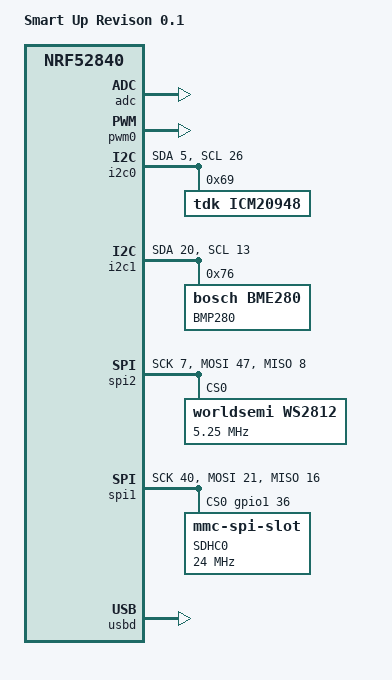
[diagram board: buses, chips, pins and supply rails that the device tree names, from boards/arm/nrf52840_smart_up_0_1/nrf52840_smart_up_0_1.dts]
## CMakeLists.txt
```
cmake_minimum_required(VERSION 3.13.1)

SET(BOARD_ROOT ${CMAKE_SOURCE_DIR})

include($ENV{ZEPHYR_BASE}/cmake/app/boilerplate.cmake NO_POLICY_SCOPE)
project(smart-up)

target_sources(app PRIVATE 
src/main.c 
src/store.c 
src/bt.c
src/gatt/battery_gatt.c
src/gatt/data_logger_gatt.c
src/data_logger.c
src/device_targets.c
src/neo_pixel.c)

target_include_directories(app PRIVATE src)
```

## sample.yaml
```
sample:
  name: Bed Sensor
tests:
  sample.blinky:
    tags: LED gpio
    filter: DT_GPIO_LEDS_LED0_GPIO_CONTROLLER
    depends_on: gpio
    harness: led
```

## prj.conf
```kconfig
# Enable RTT
CONFIG_HAS_SEGGER_RTT=y
CONFIG_LOG_BACKEND_RTT=y
CONFIG_USE_SEGGER_RTT=y

# RTT logging
CONFIG_LOG=y
CONFIG_LOG_RUNTIME_FILTERING=y
CONFIG_LOG_BUFFER_SIZE=4096
CONFIG_LOG_PRINTK=y
CONFIG_NEWLIB_LIBC=y

CONFIG_DISK_ACCESS=y
CONFIG_DISK_ACCESS_SDHC=y
CONFIG_DISK_ACCESS_SPI_SDHC=y
CONFIG_DISK_SDHC_VOLUME_NAME="SD"
CONFIG_FILE_SYSTEM=y
CONFIG_FAT_FILESYSTEM_ELM=y

CONFIG_PWM=y

CONFIG_BT=y
CONFIG_BT_DEBUG_LOG=y
CONFIG_BT_SMP=y
CONFIG_BT_PERIPHERAL=y
CONFIG_BT_GATT_DIS=y
CONFIG_BT_GATT_DIS_PNP=n
CONFIG_BT_DEVICE_NAME="Smart Up"
CONFIG_BT_DEVICE_APPEARANCE=833
#CONFIG_BT_L2CAP_RX_MTU=100
#CONFIG_BT_L2CAP_TX_MTU=100
CONFIG_BT_RX_STACK_SIZE=6096
```

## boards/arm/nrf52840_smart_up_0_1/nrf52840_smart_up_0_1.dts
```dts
/*
 * Copyright (c) 2017 Linaro Limited
 *
 * SPDX-License-Identifier: Apache-2.0
 */

/dts-v1/;
#include <nordic/nrf52840_qiaa.dtsi>

/ {
	model = "Smart Up Revison 0.1";
	compatible = "nordic,smart_up_0_1", "nordic,nrf52840-qiaa",
		     "nordic,nrf52840";

	chosen {
		zephyr,sram = &sram0;
		zephyr,flash = &flash0;
		zephyr,code-partition = &slot0_partition;
	};

	/* These aliases are provided for compatibility with samples */
	aliases {
		buzzer = &pwm0;
		neo-pixel = &spi1;
	};
};

&adc {
	status ="ok";
};

&gpiote {
	status ="ok";
};

&gpio0 {
	status ="ok";
};

&gpio1 {
	status ="ok";
};


&pwm0 {
	status = "ok";
	ch0-pin = <15>;
	ch0-inverted;
};


&i2c0 {
	status = "ok";
	sda-pin = <5>;
	scl-pin = <26>;
	icm20948@69{
        compatible = "tdk,icm20948";
        reg = <0x69>;
        label = "icm20948";
    };
};

&i2c1 {
//	status = "ok";
	sda-pin = <20>;
	scl-pin = <13>;
	bmp280@76 {
        compatible = "bosch,bme280";
        reg = <0x76>;
        label = "BMP280";
    };
};


&spi2 {
	status = "ok";
	sck-pin = <7>;
	mosi-pin = <47>;
	miso-pin = <8>;
	ws2812@0 {
		compatible = "worldsemi,ws2812";
		reg = <0>;
		spi-max-frequency = <5250000>;
		label = "WS2812";
	};
};

&spi1 {
    status = "ok";
    sck-pin = <40>;
    mosi-pin = <21>;
    miso-pin = <16>;
    cs-gpios = <&gpio1 36 0>;

    sdhc0: sdhc@0 {
        compatible = "zephyr,mmc-spi-slot";
        reg = <0>;
        status = "ok";
        label = "SDHC0";
        spi-max-frequency = <24000000>;
    };
};

&flash0 {
	/*
	 * For more information, see:
	 * http://docs.zephyrproject.org/latest/guides/dts/index.html#flash-partitions
	 */
	partitions {
		compatible = "fixed-partitions";
		#address-cells = <1>;
		#size-cells = <1>;

		boot_partition: partition@0 {
			label = "mcuboot";
			reg = <0x000000000 0x0000C000>;
		};
		slot0_partition: partition@c000 {
			label = "image-0";
			reg = <0x0000C000 0x000067000>;
		};
		slot1_partition: partition@73000 {
			label = "image-1";
			reg = <0x00073000 0x000067000>;
		};
		scratch_partition: partition@da000 {
			label = "image-scratch";
			reg = <0x000da000 0x0001e000>;
		};

		/*
		 * The flash starting at 0x000f8000 and ending at
		 * 0x000fffff is reserved for use by the application.
		 */

		/* Storage partition will be used by FCB/NFFS/NVS if enabled. */
		storage_partition: partition@f8000 {
			label = "storage";
			reg = <0x000f8000 0x00008000>;
		};
	};
};

&usbd {
	compatible = "nordic,nrf-usbd";
	status = "ok";
};
```

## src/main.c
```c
#include <errno.h>
#include <string.h>

#include <zephyr.h>
#include <device.h>
#include <sensor.h>
#include <stdio.h>
#include <misc/util.h>

// #include "neo_pixel.h"
#include "store.h"
#include "device_targets.h"
#include "bt.h"
#include "store.h"
#include "data_logger.h"
#include <logging/log.h>
#include "data_logger.h"
LOG_MODULE_REGISTER(MAIN_INIT);

void main(void)
{

	LOG_INF("start init \n");
	init_neo_pixel();
	set_pixel_color(0,40,0);
	file_store_init();
	init_pwm();
	// init_bme280();
	init_icm20948();
	bluetooth_init();
	set_pixel_color(0,0,0);
	LOG_INF("end init");

	// while (1) {
	// 	k_sleep(MSEC_PER_SEC);
	// }
}
```

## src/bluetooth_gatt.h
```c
#include <stdbool.h>
#include <zephyr/types.h>
#include <stddef.h>
#include <string.h>
#include <errno.h>
#include <misc/printk.h>
#include <misc/byteorder.h>
#include <zephyr.h>

#include <bluetooth/bluetooth.h>
#include <bluetooth/hci.h>
#include <bluetooth/conn.h>
#include <bluetooth/uuid.h>
#include <bluetooth/gatt.h>


static struct bt_gatt_attr ess_attrs[] = {
	BT_GATT_PRIMARY_SERVICE(BT_UUID_ESS),

	/* Temperature Sensor 1 */
	BT_GATT_CHARACTERISTIC(BT_UUID_TEMPERATURE,
			       BT_GATT_CHRC_READ | BT_GATT_CHRC_NOTIFY,
			       BT_GATT_PERM_READ,
			       read_u16, NULL, &sensor_1.temp_value),
	BT_GATT_DESCRIPTOR(BT_UUID_ES_MEASUREMENT, BT_GATT_PERM_READ,
			   read_es_measurement, NULL, &sensor_1.meas),
	BT_GATT_CUD(SENSOR_1_NAME, BT_GATT_PERM_READ),
	BT_GATT_DESCRIPTOR(BT_UUID_VALID_RANGE, BT_GATT_PERM_READ,
			   read_temp_valid_range, NULL, &sensor_1),
	BT_GATT_DESCRIPTOR(BT_UUID_ES_TRIGGER_SETTING,
			   BT_GATT_PERM_READ, read_temp_trigger_setting,
			   NULL, &sensor_1),
	BT_GATT_CCC(sensor_1.ccc_cfg, temp_ccc_cfg_changed),

	/* Temperature Sensor 2 */
	BT_GATT_CHARACTERISTIC(BT_UUID_TEMPERATURE,
			       BT_GATT_CHRC_READ | BT_GATT_CHRC_NOTIFY,
			       BT_GATT_PERM_READ,
			       read_u16, NULL, &sensor_2.temp_value),
	BT_GATT_DESCRIPTOR(BT_UUID_ES_MEASUREMENT, BT_GATT_PERM_READ,
			   read_es_measurement, NULL, &sensor_2.meas),
	BT_GATT_CUD(SENSOR_2_NAME, BT_GATT_PERM_READ),
	BT_GATT_DESCRIPTOR(BT_UUID_VALID_RANGE, BT_GATT_PERM_READ,
			   read_temp_valid_range, NULL, &sensor_2),
	BT_GATT_DESCRIPTOR(BT_UUID_ES_TRIGGER_SETTING,
			   BT_GATT_PERM_READ, read_temp_trigger_setting,
			   NULL, &sensor_2),
	BT_GATT_CCC(sensor_2.ccc_cfg, temp_ccc_cfg_changed),

	/* Humidity Sensor */
	BT_GATT_CHARACTERISTIC(BT_UUID_HUMIDITY, BT_GATT_CHRC_READ,
			       BT_GATT_PERM_READ,
			       read_u16, NULL, &sensor_3.humid_value),
	BT_GATT_CUD(SENSOR_3_NAME, BT_GATT_PERM_READ),
	BT_GATT_DESCRIPTOR(BT_UUID_ES_MEASUREMENT, BT_GATT_PERM_READ,
			   read_es_measurement, NULL, &sensor_3.meas),
};
```

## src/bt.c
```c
#include "bt.h"

#include "gatt/battery_gatt.h"
#include "gatt/data_logger_gatt.h"

#include <zephyr/types.h>
#include <stddef.h>
#include <string.h>
#include <errno.h>
#include <misc/byteorder.h>
#include <zephyr.h>

#include <bluetooth/bluetooth.h>
#include <bluetooth/hci.h>
#include <bluetooth/conn.h>
#include <bluetooth/uuid.h>
#include <bluetooth/gatt.h>

#include <logging/log.h>
LOG_MODULE_REGISTER(BLUETOOTH);


static struct bt_conn *default_conn;


static const struct bt_data ad[] = {
	BT_DATA_BYTES(BT_DATA_FLAGS, (BT_LE_AD_GENERAL | BT_LE_AD_NO_BREDR)),
	BT_DATA_BYTES(BT_DATA_UUID16_ALL, 0x0d, 0x18, 0x0f, 0x18, 0x05, 0x18),
};


static void connected(struct bt_conn *conn, u8_t err)
{
	if (err) {
		LOG_ERR("Connection failed (err %u)", err);
	} else {
		default_conn = bt_conn_ref(conn);
		LOG_INF("Connected");
	}
}

static void disconnected(struct bt_conn *conn, u8_t reason)
{
	LOG_INF("Disconnected (reason %u)", reason);

	if (default_conn) {
		bt_conn_unref(default_conn);
		default_conn = NULL;
	}
}

static struct bt_conn_cb conn_callbacks = {
	.connected = connected,
	.disconnected = disconnected,
};


static void bt_ready(int err){
    if(err) {
        LOG_ERR("Bluetooth init failed (err %d)", err);
        return;
    }

    LOG_INF("Bluetooth Initialized");

    batt_gatt_init();
    data_logger_gatt_init();

    err = bt_le_adv_start(BT_LE_ADV_CONN_NAME,ad,ARRAY_SIZE(ad),NULL,0);
    if(err) {
        LOG_INF("Advertizing failed to start (err %d)\n", err);
        return;
    }

    LOG_INF("Advertizing successfully started\n");
}

int bluetooth_init(){
    int err = bt_enable(bt_ready);
    if(err){
        LOG_INF("Bluetooth init failed (err %d)\n",err);
        return -EINVAL;
    }

	bt_conn_cb_register(&conn_callbacks);
    return 0;
}
```

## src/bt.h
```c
#ifndef SMART_UP_DEVICE_BT__h
#define SMART_UP_DEVICE_BT__h

#include <stdbool.h>
#include <zephyr/types.h>
#include <stddef.h>
#include <string.h>
#include <errno.h>
#include <misc/printk.h>
#include <misc/byteorder.h>
#include <zephyr.h>

#include <bluetooth/bluetooth.h>
#include <bluetooth/hci.h>
#include <bluetooth/conn.h>
#include <bluetooth/uuid.h>
#include <bluetooth/gatt.h>

int bluetooth_init();

#endif
```

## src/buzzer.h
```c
#ifndef SMART_UP_NEO_BUZZER__h
#define SMART_UP_NEO_BUZZER__h

#include "sensors_device.h"

void set_buzzer_pwm(struct sensor_configuration* config,int pulse_width);

#endif
```

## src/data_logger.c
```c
#include "data_logger.h"
#include <store.h>
#include "device_targets.h"
#include <sensor.h>

#include <logging/log.h>
LOG_MODULE_REGISTER(DATA_LOGGER);

#define DATA_LOGGER_STACK_SIZE 10000
#define DATA_LOGGER_PRIORITY 5

static k_tid_t thread_id = NULL;
static struct k_thread data_logger_thread_data;

K_THREAD_STACK_DEFINE(data_logger_stack,DATA_LOGGER_STACK_SIZE);
static volatile bool g_is_logging = false;

static void logging_thread(void * u1, void * u2, void * u3){
    // set pixel to blue to tell that the logger is logging
    set_pixel_color(0,0,20);
    s64_t start_time = k_uptime_get();

    struct sensor_value value[6];
    // LOG_INF("Started logging \n");
    while(g_is_logging == true){
        k_busy_wait((s32_t)((1.0/100.0) * 1000.0));        
        struct sensor_value* pos = value;
        icm20948_sample_fetch();
        icm20948_retrieve_acc(pos);
        pos+=3;
        icm20948_retrieve_gyro(pos);
        if(push_payload(k_uptime_delta(&start_time),value,ACC_GYRO_XYZ) < 0){
            break;
        }
    }
    store_sync();
    close_session();
    // LOG_INF("stopped logging");    
    g_is_logging = false;
    // clear when finished
    set_pixel_color(0,0,0);
}

bool is_logging(){
    return g_is_logging;
}

int stop_logging(){
    g_is_logging = false;
    return 0;
}

int start_logging(s32_t timestamp,const char* name, const char* token) {
    
    if(g_is_logging == true){
        LOG_INF("already logging");
        return -EINVAL;
    }

    if(start_session(timestamp,name,token))
        return -EINVAL;
    g_is_logging = true;
    thread_id = k_thread_create(&data_logger_thread_data,
        data_logger_stack,
        K_THREAD_STACK_SIZEOF(data_logger_stack),
        logging_thread,NULL,NULL,NULL,
        DATA_LOGGER_PRIORITY,0,K_NO_WAIT);
    return 0;
}
```

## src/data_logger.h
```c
#ifndef SMART_UP_DATA_LOGGER__h
#define SMART_UP_DATA_LOGGER__h
#include <zephyr.h>

int start_logging(s32_t timestamp,const char* name, const char* token);
int stop_logging();
bool is_logging();
// void set_capture_rate(u32_t hz);
#endif
```

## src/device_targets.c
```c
#include "device_targets.h"
#include <sensor.h>
#include <led_strip.h>
#include <pwm.h>

#include <logging/log.h>
LOG_MODULE_REGISTER(BIND_DEVICE_TARGETS);


static struct device* bmp280_dev;
static struct device* icm20948_dev;
static struct device* neo_pixel_dev;
static struct device* pwm_device;

// int init_bme280(){
//     bmp280_dev = device_get_binding(BME280_DEVICE);
//     if(bmp280_dev == NULL){
//         LOG_ERR("could not init ICM20948 device");
//         return -EINVAL;
//     }
//     LOG_INF("dev %p name %s\n", bmp280_dev, bmp280_dev->config->name);
//     return 0;
// }

int init_icm20948(){
    icm20948_dev = device_get_binding(ICM_20948_DEVICE);
    if(icm20948_dev == NULL){
        LOG_ERR("could not init ICM20948 device");
        return -EINVAL;
    }
    LOG_INF("dev %p name %s", icm20948_dev, icm20948_dev->config->name);
    return 0;
}

int init_neo_pixel(){
    neo_pixel_dev = device_get_binding(NEO_STRIP_DEVICE);
    if(neo_pixel_dev == NULL){
        LOG_ERR("could not get neo_pixel device");
		return -EINVAL;    
	}
    LOG_INF("dev %p name %s\n", neo_pixel_dev, neo_pixel_dev->config->name);
    return 0;
}


int init_pwm(){
    pwm_device = device_get_binding(PWM_DEVICE);
    if(pwm_device == NULL){
        LOG_ERR("Could not get buzzer device");
        return -EINVAL;
    }
    LOG_INF("dev %p name %s\n", pwm_device, pwm_device->config->name);
    return 0;
}

// int bme280_retrieve_ambient_temp(struct sensor_value* value){
//     if(sensor_channel_get(bmp280_dev, SENSOR_CHAN_AMBIENT_TEMP, value)){
//         return -EINVAL;
//     }
//     return 0;
// }

// int bme280_retrieve_pressure(struct sensor_value* value){
//     if(sensor_channel_get(bmp280_dev, SENSOR_CHAN_PRESS, value)){
//         return -EINVAL;
//     }
//     return 0;
// }

// int bme280_retrieve_humidity(struct sensor_value* value){
//     if(sensor_channel_get(bmp280_dev, SENSOR_CHAN_HUMIDITY, value)){
//         return -EINVAL;
//     }
//     return 0;
// }

int set_pixel_color(u8_t r,u8_t g, u8_t b){
    static struct led_rgb neo_pixel_color[1];
	neo_pixel_color[0].r = r;
	neo_pixel_color[0].g = g;
	neo_pixel_color[0].b = b;
	led_strip_update_rgb(neo_pixel_dev, neo_pixel_color, 1);
    return 0;
}

int icm20948_sample_fetch(){
	if(sensor_sample_fetch(icm20948_dev)){
        LOG_ERR("failed to fetch ICM20948");
        return -EINVAL;
    }
    return 0;
}

int icm20948_retrieve_acc(struct sensor_value* value){
    if(sensor_channel_get(icm20948_dev, SENSOR_CHAN_ACCEL_XYZ, value)){
        LOG_ERR("failed to get sensor channel ACC_XYZ");
        return -EINVAL;
    }
    return 0;
}
int icm20948_retrieve_gyro(struct sensor_value* value){
    if(sensor_channel_get(icm20948_dev, SENSOR_CHAN_GYRO_XYZ, value)){
        LOG_ERR("failed to get sensor channel GYRO_XYZ");
        return -EINVAL;
    }
    return 0;
}

int set_buzzer_pwm(int pulse_width){
    if(pwm_pin_set_usec(pwm_device,PWM_CHANNEL_BUZZER,PWM_PERIOD,pulse_width)){
        LOG_ERR("pwm pin set failed");
        return -EINVAL;
    }
    return 0;
}
```

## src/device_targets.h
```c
#ifndef SMART_UP_DEVICE_TARGET__h
#define SMART_UP_DEVICE_TARGET__h

#include <zephyr.h>
#include <device.h>
#include <sensor.h>

#if defined(CONFIG_WS2812_STRIP)
	#define NEO_STRIP_DEVICE DT_WORLDSEMI_WS2812_0_LABEL
#else
	#define NEO_STRIP_DEVICE CONFIG_WS2812B_SW_NAME
#endif

#define ICM_20948_DEVICE DT_TDK_ICM20948_0_LABEL

#define BME280_DEVICE DT_BOSCH_BME280_0_LABEL

#if defined(CONFIG_PWM_NRF5_SW)
#define PWM_DEVICE CONFIG_PWM_NRF5_SW_0_DEV_NAME
#else
#define PWM_DEVICE DT_NORDIC_NRF_PWM_PWM_0_LABEL
#endif  /* CONFIG_PWM_NRF5_SW */
#define PWM_PERIOD (USEC_PER_SEC / 50U)
#define PWM_CHANNEL_BUZZER DT_NORDIC_NRF_PWM_BUZZER_CH0_PIN



int init_pwm();
int init_bme280();
int init_icm20948();
int init_neo_pixel();
int icm20948_sample_fetch();

//bme280
int bme280_retrieve_ambient_temp(struct sensor_value* value);
int bme280_retrieve_pressure(struct sensor_value* value);
int bme280_retrieve_humidity(struct sensor_value* value);

// NEO pixel
int set_pixel_color(u8_t r,u8_t g, u8_t b);

//icm_20948
int icm20948_retrieve_acc(struct sensor_value* value);
int icm20948_retrieve_gyro(struct sensor_value* value);

// buzzer
int set_buzzer_pwm(int pulse_width);

#endif
```

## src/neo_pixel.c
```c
#include "neo_pixel.h"
#include <led_strip.h>
#include "device_targets.h"

#define NEO_PIXEL_STACK_SIZE 200
#define DATA_NEO_PIXEL_PRIORITY 5

static k_tid_t thread_id = NULL;
static struct k_thread neo_pixel_thread_data;

K_THREAD_STACK_DEFINE(data_pixel_stack,NEO_PIXEL_STACK_SIZE);

static struct led_rgb color;
static s32_t delay;
static u8_t count;
static void neo_pixel_thread(void * u1, void * u2, void * u3){
    do{
        set_pixel_color(color.r,color.g,color.b);
        k_sleep(delay);
        set_pixel_color(0,0,0);
        k_sleep(delay);
        count--;
    } while(count > 0);
}

void neo_blink(u8_t r,u8_t g,u8_t b,s32_t ms_delay, u8_t times){
    color.r = r;
    color.g = g;
    color.b = b;
    delay = ms_delay;
    count = times;


    thread_id = k_thread_create(&neo_pixel_thread_data,
        data_pixel_stack,
        K_THREAD_STACK_SIZEOF(data_pixel_stack),
        neo_pixel_thread,NULL,NULL,NULL,
        DATA_NEO_PIXEL_PRIORITY,0,K_NO_WAIT);
}
```

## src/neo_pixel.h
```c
#ifndef SMART_UP_NEO_PIXEL__h
#define SMART_UP_NEO_PIXEL__h

#include <zephyr.h>
#include <device.h>
#include <sensor.h>

void neo_blink(u8_t r,u8_t g,u8_t b,s32_t ms_delay, u8_t times);

#endif
```

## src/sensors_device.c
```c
#include "sensors_device.h"

#include <zephyr.h>
#include <device.h>

static struct sensor_configuration config;

struct sensor_configuration* configure_sensors(){

    config.bme280 = device_get_binding(BME280_DEVICE);
    if(config.bme280 == NULL){
        printk("Could not get bme280 device\n");
    }
    config.buzzer = device_get_binding(PWM_DRIVER);
    config.buzzer_pin = PWM_CHANNEL;
    if(config.buzzer == NULL){
        printk("Could not get buzzer device\n");
    }

    config.icm20948  = device_get_binding(ICM20948_DEVICE);
    if(config.icm20948 == NULL){
        printk("could not get icm20948 device\n");
    }

    config.neo_pixel = device_get_binding(NEO_STRIP_DEVICE);
    if(config.neo_pixel){
        printk("could not get neo_pixel device\n");    
    }
    return &config;
}
```

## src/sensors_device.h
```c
#ifndef SMART_UP_SENSORS_DEVICE__H
#define SMART_UP_SENSORS_DEVICE__H

#include <zephyr.h>
#include <device.h>

#include <misc/util.h>

#define BME280_DEVICE DT_BOSCH_BME280_0_LABEL
#define ICM20948_DEVICE DT_TDK_ICM20948_0_LABEL

#define PWM_PERIOD (USEC_PER_SEC / 50U)
#define PWM_DRIVER DT_NORDIC_NRF_PWM_BUZZER_LABEL
#define PWM_CHANNEL DT_NORDIC_NRF_PWM_BUZZER_CH0_PIN

#if defined(CONFIG_WS2812_STRIP)
	#define NEO_STRIP_DEVICE DT_WORLDSEMI_WS2812_0_LABEL
#else
	#define NEO_STRIP_DEVICE CONFIG_WS2812B_SW_NAME
#endif

struct sensor_configuration
{
    struct device* icm20948;
    struct device* bme280;
    struct device* neo_pixel;
    struct device* buzzer;
    int buzzer_pin;
};

struct sensor_configuration* configure_sensors();

#endif
```
